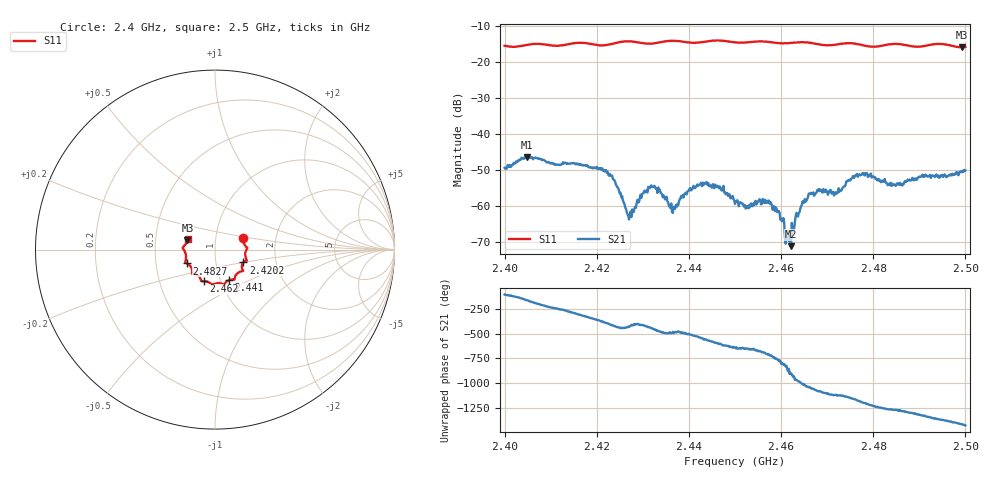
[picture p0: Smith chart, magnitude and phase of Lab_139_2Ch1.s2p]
# Hz S RI R 50
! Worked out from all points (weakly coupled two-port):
!   601 points, 2.4 GHz to 2.5 GHz, reference 50 ohm
!   highest |S21| = -46.40 dB at 2.4048 GHz (marker M1); lowest = -71.2 dB at 2.4622 GHz (marker M2)
!   lowest |S11| = -15.8 dB at 2.4993 GHz (marker M3), VSWR 1.39, Z = 36.5 + j3.87 ohm
!   |S11| at or under -10 dB: start of sweep to end of sweep
!   S12 and S22 are empty: the file has one direction only
!   S11 on the Smith chart (normalised r, x): 2.4 GHz: 1.36, +0.17; 2.4202 GHz: 1.36, -0.20; 2.441 GHz: 1.10, -0.39; 2.462 GHz: 0.84, -0.30; 2.4827 GHz: 0.72, -0.11; 2.5 GHz: 0.73, +0.09
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2.4e9  0.1582 0.0622  -0.000777 -0.00329  0 0  0 0
2.404833e9  0.1741 0.015  -0.00453 -0.00154  0 0  0 0
2.416667e9  0.1772 -0.0607  0.00255 0.00273  0 0  0 0
2.420167e9  0.1582 -0.0713  0.00328 -8.01e-05  0 0  0 0
2.423333e9  0.15 -0.1012  0.00156 -0.00212  0 0  0 0
2.427e9  0.156 -0.1191  0.000199 -0.000614  0 0  0 0
2.430333e9  0.1332 -0.1264  0.000869 -0.00137  0 0  0 0
2.433333e9  0.1116 -0.1512  -0.000663 -0.00168  0 0  0 0
2.436833e9  0.108 -0.1678  -0.000558 -0.000775  0 0  0 0
2.441e9  0.0783 -0.1699  -0.00178 -0.000688  0 0  0 0
2.446167e9  0.0498 -0.1954  -0.00105 0.00158  0 0  0 0
2.45e9  0.0282 -0.1878  0.000172 0.00105  0 0  0 0
2.457333e9  -0.0217 -0.1911  0.00118 0.000127  0 0  0 0
2.462e9  -0.0606 -0.1757  -0.000317 -4.11e-05  0 0  0 0
2.462167e9  -0.0622 -0.1759  -0.000271 4.07e-05  0 0  0 0
2.464667e9  -0.0759 -0.175  0.000361 0.0011  0 0  0 0
2.466667e9  -0.0789 -0.1681  0.00134 0.000597  0 0  0 0
2.478167e9  -0.1274 -0.1137  -0.00135 -0.00228  0 0  0 0
2.482667e9  -0.1563 -0.0772  -0.00212 -0.000107  0 0  0 0
2.483333e9  -0.1607 -0.0753  -0.00197 0.000156  0 0  0 0
2.499333e9  -0.1538 0.0517  0.00268 0.00124  0 0  0 0
2.5e9  -0.1521 0.061  0.00304 0.000687  0 0  0 0
